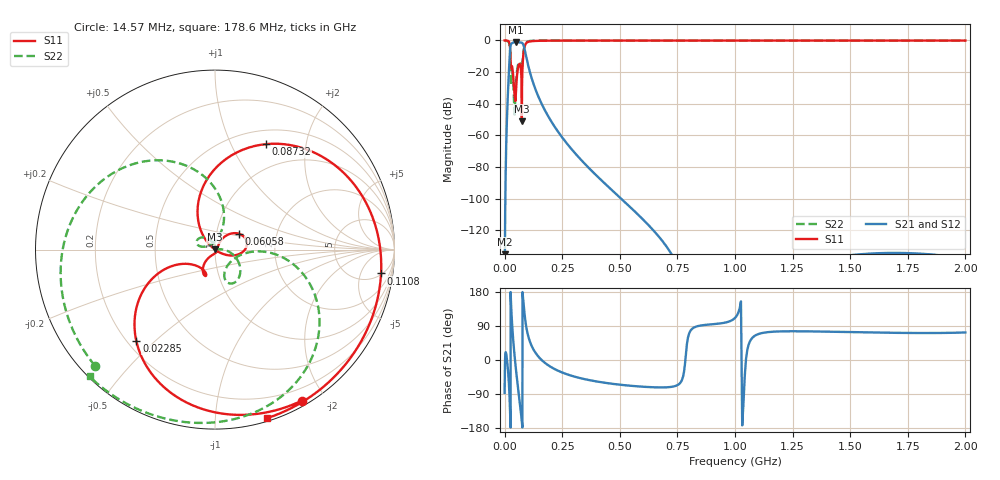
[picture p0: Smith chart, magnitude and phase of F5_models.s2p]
! Created with skrf 2.2.0 (http://scikit-rf.org).
# MHz S RI R 50.0
! Port[1] = P1
! Port[2] = P2
!freq ReS11 ImS11 ReS21 ImS21 ReS12 ImS12 ReS22 ImS22
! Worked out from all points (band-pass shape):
!   2001 points, 50 kHz to 2 GHz, reference 50 ohm
!   highest |S21| = -1.10 dB at 50.33 MHz (marker M1); lowest = -198.9 dB at 122.4 kHz (marker M2)
!   |S21| within 3 dB of the highest: 25.16 MHz to 84.35 MHz (59.19 MHz wide, 108 % of centre)
!   lowest |S11| = -51.2 dB at 74.88 MHz (marker M3), VSWR 1.01, Z = 49.8 + j0.151 ohm
!   |S11| at or under -10 dB: 25.46 MHz to 80.75 MHz (55.29 MHz wide, 104 % of centre)
!   |S22| runs from -47.0 to 0.0 dB; largest |S21 - S12| = 1.2e-15
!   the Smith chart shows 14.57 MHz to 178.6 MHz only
!   S11 on the Smith chart (normalised r, x): 14.57 MHz: 0.06, -1.73; 22.85 MHz: 0.23, -0.44; 60.58 MHz: 1.29, +0.23; 87.32 MHz: 0.67, +1.37; 110.8 MHz: 5, -11; 178.6 MHz: 0.02, -1.36
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0.05  1 -0.00314  4.33e-13 -7.65e-12  4.33e-13 -7.65e-12  1 -0.00867
0.1224177  1 -0.00769  1.61e-11 -1.12e-10  1.61e-11 -1.12e-10  0.9997 -0.0212
0.2934364  0.9998 -0.0184  5.38e-10 -1.51e-09  5.38e-10 -1.51e-09  0.9986 -0.0509
1.712999  0.9938 -0.1076  6.97e-07 -6.77e-08  6.97e-07 -6.77e-08  0.955 -0.2918
5.021877  0.9468 -0.3137  8.79e-05 3.29e-05  8.79e-05 3.29e-05  0.6468 -0.7493
10  0.7779 -0.611  0.00295 0.000116  0.00295 0.000116  -0.0849 -0.9617
14.5671  0.4848 -0.8412  0.0205 -0.00984  0.0205 -0.00984  -0.6671 -0.6489
19.08647  -0.00411 -0.9058  0.0482 -0.1088  0.0482 -0.1088  -0.8448 0.0205
22.85392  -0.438 -0.511  -0.1929 -0.3421  -0.1929 -0.3421  -0.3432 0.4971
27.22041  -0.1196 -0.0848  -0.6963 0.2528  -0.6963 0.2528  0.00971 0.0588
33.64619  -0.0678 -0.1177  0.0853 0.8275  0.0853 0.8275  -0.0715 0.0678
42.93221  0.00138 -0.0206  0.8497 0.2019  0.8497 0.2019  0.00266 0.00364
50.32852  0.02 0.0275  0.7546 -0.4552  0.7546 -0.4552  0.0595 -0.00344
58.68728  0.1069 0.0917  0.2137 -0.8453  0.2137 -0.8453  0.1406 -0.1036
60.58292  0.1343 0.0881  0.0683 -0.8658  0.0683 -0.8658  0.1398 -0.1348
74.88441  -0.0023 0.00152  -0.8064 -0.2563  -0.8064 -0.2563  0.0943 -0.0614
87.32152  0.2859 0.5879  -0.2349 0.4531  -0.2349 0.4531  0.5825 -0.4006
110.8326  0.9252 -0.1328  0.0644 0.0688  0.0644 0.0688  -0.0467 -0.9653
178.5502  0.2912 -0.9388  0.00548 -0.000886  0.00548 -0.000886  -0.6992 -0.7069
342.5997  -0.6079 -0.7825  8.99e-05 -0.000107  8.99e-05 -0.000107  -0.934 -0.3499
803.9941  -0.9895 -0.0637  5.57e-09 1.98e-08  5.57e-09 1.98e-08  -0.9955 -0.0674
2000  -0.6973 0.7065  3.69e-08 1.19e-07  3.69e-08 1.19e-07  -0.9813 0.1816
